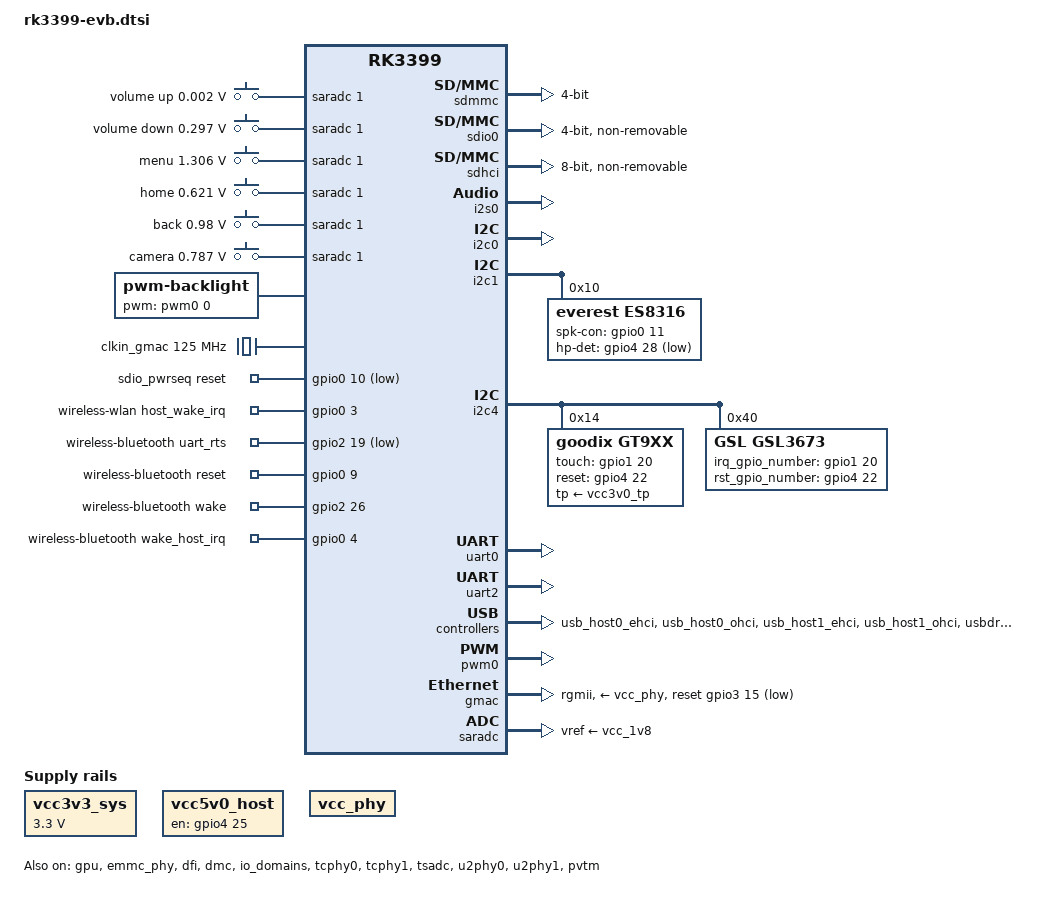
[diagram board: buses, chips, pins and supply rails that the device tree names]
/*
 * Copyright (c) 2016 Fuzhou Rockchip Electronics Co., Ltd
 *
 * This file is dual-licensed: you can use it either under the terms
 * of the GPL or the X11 license, at your option. Note that this dual
 * licensing only applies to this file, and not this project as a
 * whole.
 *
 *  a) This file is free software; you can redistribute it and/or
 *     modify it under the terms of the GNU General Public License as
 *     published by the Free Software Foundation; either version 2 of the
 *     License, or (at your option) any later version.
 *
 *     This file is distributed in the hope that it will be useful,
 *     but WITHOUT ANY WARRANTY; without even the implied warranty of
 *     MERCHANTABILITY or FITNESS FOR A PARTICULAR PURPOSE.  See the
 *     GNU General Public License for more details.
 *
 * Or, alternatively,
 *
 *  b) Permission is hereby granted, free of charge, to any person
 *     obtaining a copy of this software and associated documentation
 *     files (the "Software"), to deal in the Software without
 *     restriction, including without limitation the rights to use,
 *     copy, modify, merge, publish, distribute, sublicense, and/or
 *     sell copies of the Software, and to permit persons to whom the
 *     Software is furnished to do so, subject to the following
 *     conditions:
 *
 *     The above copyright notice and this permission notice shall be
 *     included in all copies or substantial portions of the Software.
 *
 *     THE SOFTWARE IS PROVIDED "AS IS", WITHOUT WARRANTY OF ANY KIND,
 *     EXPRESS OR IMPLIED, INCLUDING BUT NOT LIMITED TO THE WARRANTIES
 *     OF MERCHANTABILITY, FITNESS FOR A PARTICULAR PURPOSE AND
 *     NONINFRINGEMENT. IN NO EVENT SHALL THE AUTHORS OR COPYRIGHT
 *     HOLDERS BE LIABLE FOR ANY CLAIM, DAMAGES OR OTHER LIABILITY,
 *     WHETHER IN AN ACTION OF CONTRACT, TORT OR OTHERWISE, ARISING
 *     FROM, OUT OF OR IN CONNECTION WITH THE SOFTWARE OR THE USE OR
 *     OTHER DEALINGS IN THE SOFTWARE.
 */

#include <dt-bindings/input/input.h>
#include <dt-bindings/pwm/pwm.h>
#include "rk3399.dtsi"
#include "rk3399-opp.dtsi"

/ {
	compatible = "rockchip,rk3399-evb", "rockchip,rk3399";

	adc_keys: adc-keys {
		compatible = "adc-keys";
		io-channels = <&saradc 1>;
		io-channel-names = "buttons";
		keyup-threshold-microvolt = <1800000>;
		poll-interval = <100>;

		vol-up-key {
			label = "volume up";
			linux,code = <KEY_VOLUMEUP>;
			press-threshold-microvolt = <1750>;
		};

		vol-down-key {
			label = "volume down";
			linux,code = <KEY_VOLUMEDOWN>;
			press-threshold-microvolt = <297500>;
		};

		menu-key {
			label = "menu";
			linux,code = <KEY_MENU>;
			press-threshold-microvolt = <1305500>;
		};

		home-key {
			label = "home";
			linux,code = <KEY_HOME>;
			press-threshold-microvolt = <621250>;
		};

		back-key {
			label = "back";
			linux,code = <KEY_BACK>;
			press-threshold-microvolt = <980000>;
		};

		camera-key {
			label = "camera";
			linux,code = <KEY_CAMERA>;
			press-threshold-microvolt = <787500>;
		};
	};

	vcc3v3_sys: vcc3v3-sys {
		compatible = "regulator-fixed";
		regulator-name = "vcc3v3_sys";
		regulator-always-on;
		regulator-boot-on;
		regulator-min-microvolt = <3300000>;
		regulator-max-microvolt = <3300000>;
	};

	vcc5v0_host: vcc5v0-host-regulator {
		compatible = "regulator-fixed";
		enable-active-high;
		gpio = <&gpio4 25 GPIO_ACTIVE_HIGH>;
		pinctrl-names = "default";
		pinctrl-0 = <&host_vbus_drv>;
		regulator-name = "vcc5v0_host";
		regulator-always-on;
	};

	backlight: backlight {
		compatible = "pwm-backlight";
		pwms = <&pwm0 0 25000 0>;
		brightness-levels = <
			  0   1   2   3   4   5   6   7
			  8   9  10  11  12  13  14  15
			 16  17  18  19  20  21  22  23
			 24  25  26  27  28  29  30  31
			 32  33  34  35  36  37  38  39
			 40  41  42  43  44  45  46  47
			 48  49  50  51  52  53  54  55
			 56  57  58  59  60  61  62  63
			 64  65  66  67  68  69  70  71
			 72  73  74  75  76  77  78  79
			 80  81  82  83  84  85  86  87
			 88  89  90  91  92  93  94  95
			 96  97  98  99 100 101 102 103
			104 105 106 107 108 109 110 111
			112 113 114 115 116 117 118 119
			120 121 122 123 124 125 126 127
			128 129 130 131 132 133 134 135
			136 137 138 139 140 141 142 143
			144 145 146 147 148 149 150 151
			152 153 154 155 156 157 158 159
			160 161 162 163 164 165 166 167
			168 169 170 171 172 173 174 175
			176 177 178 179 180 181 182 183
			184 185 186 187 188 189 190 191
			192 193 194 195 196 197 198 199
			200 201 202 203 204 205 206 207
			208 209 210 211 212 213 214 215
			216 217 218 219 220 221 222 223
			224 225 226 227 228 229 230 231
			232 233 234 235 236 237 238 239
			240 241 242 243 244 245 246 247
			248 249 250 251 252 253 254 255>;
		default-brightness-level = <200>;
	};

	clkin_gmac: external-gmac-clock {
		compatible = "fixed-clock";
		clock-frequency = <125000000>;
		clock-output-names = "clkin_gmac";
		#clock-cells = <0>;
	};

	vcc_phy: vcc-phy-regulator {
		compatible = "regulator-fixed";
		regulator-name = "vcc_phy";
		regulator-always-on;
		regulator-boot-on;
	};

	es8316-sound {
		compatible = "simple-audio-card";
		simple-audio-card,format = "i2s";
		simple-audio-card,name = "rockchip,es8316-codec";
		simple-audio-card,mclk-fs = <256>;
		simple-audio-card,widgets =
			"Microphone", "Mic Jack",
			"Headphone", "Headphone Jack";
		simple-audio-card,routing =
			"Mic Jack", "MICBIAS1",
			"IN1P", "Mic Jack",
			"Headphone Jack", "HPOL",
			"Headphone Jack", "HPOR";
		simple-audio-card,cpu {
			sound-dai = <&i2s0>;
		};
		simple-audio-card,codec {
			sound-dai = <&es8316>;
		};
	};

	hdmi_sound: hdmi-sound {
		status = "disabled";
		compatible = "simple-audio-card";
		simple-audio-card,format = "i2s";
		simple-audio-card,mclk-fs = <256>;
		simple-audio-card,name = "rockchip,hdmi";
		simple-audio-card,cpu {
			sound-dai = <&i2s2>;
		};
		simple-audio-card,codec {
			sound-dai = <&dw_hdmi_audio>;
		};
	};

	dw_hdmi_audio: dw-hdmi-audio {
		status = "disabled";
		compatible = "rockchip,dw-hdmi-audio";
		#sound-dai-cells = <0>;
	};

	spdif_sound: spdif-sound {
		status = "disabled";
		compatible = "simple-audio-card";
		simple-audio-card,name = "ROCKCHIP,SPDIF";
		simple-audio-card,cpu {
			sound-dai = <&spdif>;
		};
		simple-audio-card,codec {
			sound-dai = <&spdif_out>;
		};
	};

	spdif_out: spdif-out {
		status = "disabled";
		compatible = "linux,spdif-dit";
		#sound-dai-cells = <0>;
	};

	sdio_pwrseq: sdio-pwrseq {
		compatible = "mmc-pwrseq-simple";
		clocks = <&rk808 1>;
		clock-names = "ext_clock";
		pinctrl-names = "default";
		pinctrl-0 = <&wifi_enable_h>;

		/*
		 * On the module itself this is one of these (depending
		 * on the actual card populated):
		 * - SDIO_RESET_L_WL_REG_ON
		 * - PDN (power down when low)
		 */
		reset-gpios = <&gpio0 10 GPIO_ACTIVE_LOW>; /* GPIO0_B2 */
	};

	wireless-wlan {
		compatible = "wlan-platdata";
		rockchip,grf = <&grf>;
		wifi_chip_type = "ap6354";
		sdio_vref = <1800>;
		WIFI,host_wake_irq = <&gpio0 3 GPIO_ACTIVE_HIGH>; /* GPIO0_a3 */
		status = "okay";
	};

	wireless-bluetooth {
		compatible = "bluetooth-platdata";
		clocks = <&rk808 1>;
		clock-names = "ext_clock";
		//wifi-bt-power-toggle;
		uart_rts_gpios = <&gpio2 19 GPIO_ACTIVE_LOW>; /* GPIO2_C3 */
		pinctrl-names = "default", "rts_gpio";
		pinctrl-0 = <&uart0_rts>;
		pinctrl-1 = <&uart0_gpios>;
		//BT,power_gpio  = <&gpio3 19 GPIO_ACTIVE_HIGH>; /* GPIOx_xx */
		BT,reset_gpio    = <&gpio0 9 GPIO_ACTIVE_HIGH>; /* GPIO0_B1 */
		BT,wake_gpio     = <&gpio2 26 GPIO_ACTIVE_HIGH>; /* GPIO2_D2 */
		BT,wake_host_irq = <&gpio0 4 GPIO_ACTIVE_HIGH>; /* GPIO0_A4 */
		status = "okay";
	};

	test-power {
		status = "okay";
	};
};

&cpu_l0 {
	cpu-supply = <&vdd_cpu_l>;
};

&cpu_l1 {
	cpu-supply = <&vdd_cpu_l>;
};

&cpu_l2 {
	cpu-supply = <&vdd_cpu_l>;
};

&cpu_l3 {
	cpu-supply = <&vdd_cpu_l>;
};

&cpu_b0 {
	cpu-supply = <&vdd_cpu_b>;
};

&cpu_b1 {
	cpu-supply = <&vdd_cpu_b>;
};

&gpu {
	status = "okay";
	mali-supply = <&vdd_gpu>;
};

&sdmmc {
	clock-frequency = <150000000>;
	clock-freq-min-max = <400000 150000000>;
	supports-sd;
	bus-width = <4>;
	cap-mmc-highspeed;
	cap-sd-highspeed;
	disable-wp;
	num-slots = <1>;
	//sd-uhs-sdr104;
	vqmmc-supply = <&vcc_sd>;
	pinctrl-names = "default";
	pinctrl-0 = <&sdmmc_clk &sdmmc_cmd &sdmmc_cd &sdmmc_bus4>;
	status = "okay";
};

&sdio0 {
	clock-frequency = <150000000>;
	clock-freq-min-max = <200000 150000000>;
	supports-sdio;
	bus-width = <4>;
	disable-wp;
	cap-sd-highspeed;
	cap-sdio-irq;
	keep-power-in-suspend;
	mmc-pwrseq = <&sdio_pwrseq>;
	non-removable;
	num-slots = <1>;
	pinctrl-names = "default";
	pinctrl-0 = <&sdio0_bus4 &sdio0_cmd &sdio0_clk>;
	sd-uhs-sdr104;
	status = "okay";
};

&emmc_phy {
	status = "okay";
};

&dfi {
	status = "okay";
};

&dmc {
	status = "okay";
	center-supply = <&vdd_center>;
	upthreshold = <40>;
	downdifferential = <20>;
	system-status-freq = <
		/*system status         freq(KHz)*/
		SYS_STATUS_NORMAL       800000
		SYS_STATUS_REBOOT       528000
		SYS_STATUS_SUSPEND      200000
		SYS_STATUS_VIDEO_1080P  200000
		SYS_STATUS_VIDEO_4K     600000
		SYS_STATUS_VIDEO_4K_10B 800000
		SYS_STATUS_PERFORMANCE  800000
		SYS_STATUS_BOOST        400000
		SYS_STATUS_DUALVIEW     600000
		SYS_STATUS_ISP          600000
	>;
	vop-bw-dmc-freq = <
	/* min_bw(MB/s) max_bw(MB/s) freq(KHz) */
		0       577      200000
		578     1701     300000
		1702    99999    400000
	>;
	auto-min-freq = <200000>;
};

&sdhci {
	bus-width = <8>;
	mmc-hs400-1_8v;
	supports-emmc;
	non-removable;
	keep-power-in-suspend;
	mmc-hs400-enhanced-strobe;
	status = "okay";
};

&i2s0 {
	status = "okay";
	rockchip,i2s-broken-burst-len;
	rockchip,playback-channels = <8>;
	rockchip,capture-channels = <8>;
	#sound-dai-cells = <0>;
};

&i2s2 {
	#sound-dai-cells = <0>;
};

&spdif {
	#sound-dai-cells = <0>;
};

&i2c0 {
	status = "okay";
	i2c-scl-rising-time-ns = <450>;
	i2c-scl-falling-time-ns = <15>;
};

&i2c1 {
	status = "okay";
	i2c-scl-rising-time-ns = <300>;
	i2c-scl-falling-time-ns = <15>;

	es8316: es8316@10 {
		#sound-dai-cells = <0>;
		compatible = "everest,es8316";
		reg = <0x10>;
		clocks = <&cru SCLK_I2S_8CH_OUT>;
		clock-names = "mclk";
		pinctrl-names = "default";
		pinctrl-0 = <&i2s_8ch_mclk>;
		spk-con-gpio = <&gpio0 11 GPIO_ACTIVE_HIGH>;
		hp-det-gpio = <&gpio4 28 GPIO_ACTIVE_LOW>;
	};
};

&i2c4 {
	status = "okay";
	i2c-scl-rising-time-ns = <600>;
	i2c-scl-falling-time-ns = <20>;

	gt9xx: gt9xx@14 {
		compatible = "goodix,gt9xx";
		reg = <0x14>;
		touch-gpio = <&gpio1 20 IRQ_TYPE_LEVEL_LOW>;
		reset-gpio = <&gpio4 22 GPIO_ACTIVE_HIGH>;
		max-x = <1200>;
		max-y = <1900>;
		tp-size = <911>;
		tp-supply = <&vcc3v0_tp>;
	};

	gsl3673: gsl3673@40 {
		compatible = "GSL,GSL3673";
		reg = <0x40>;
		screen_max_x = <1536>;
		screen_max_y = <2048>;
		irq_gpio_number = <&gpio1 20 IRQ_TYPE_LEVEL_LOW>;
		rst_gpio_number = <&gpio4 22 GPIO_ACTIVE_HIGH>;
	};
};

&io_domains {
	status = "okay";

	bt656-supply = <&vcc1v8_dvp>;
	audio-supply = <&vcca1v8_codec>;
	sdmmc-supply = <&vcc_sd>;
	gpio1830-supply = <&vcc_3v0>;
};

&pcie_phy {
	status = "disabled";
};

&pcie0 {
	ep-gpios = <&gpio3 13 GPIO_ACTIVE_HIGH>;
	num-lanes = <4>;
	pinctrl-names = "default";
	pinctrl-0 = <&pcie_clkreqn_cpm>;
	status = "disabled";
};

&tcphy0 {
	extcon = <&fusb0>;
	status = "okay";
};

&tcphy1 {
	extcon = <&fusb1>;
	status = "okay";
};

&tsadc {
	rockchip,hw-tshut-mode = <1>; /* tshut mode 0:CRU 1:GPIO */
	rockchip,hw-tshut-polarity = <1>; /* tshut polarity 0:LOW 1:HIGH */
	status = "okay";
};

&u2phy0 {
	status = "okay";
	extcon = <&fusb0>;

	u2phy0_otg: otg-port {
		status = "okay";
	};

	u2phy0_host: host-port {
		phy-supply = <&vcc5v0_host>;
		status = "okay";
	};
};

&u2phy1 {
	status = "okay";
	extcon = <&fusb1>;

	u2phy1_otg: otg-port {
		status = "okay";
	};

	u2phy1_host: host-port {
		phy-supply = <&vcc5v0_host>;
		status = "okay";
	};
};

&uart0 {
	pinctrl-names = "default";
	pinctrl-0 = <&uart0_xfer &uart0_cts>;
	status = "okay";
};

&uart2 {
	status = "okay";
};

&usb_host0_ehci {
	status = "okay";
};

&usb_host0_ohci {
	status = "okay";
};

&usb_host1_ehci {
	status = "okay";
};

&usb_host1_ohci {
	status = "okay";
};

&usbdrd3_0 {
	status = "okay";
};

&usbdrd_dwc3_0 {
	status = "okay";
	extcon = <&fusb0>;
};

&usbdrd3_1 {
	status = "okay";
};

&usbdrd_dwc3_1 {
	status = "okay";
	extcon = <&fusb1>;
};

&pwm0 {
	status = "okay";
};

&gmac {
	phy-supply = <&vcc_phy>;
	phy-mode = "rgmii";
	clock_in_out = "input";
	snps,reset-gpio = <&gpio3 15 GPIO_ACTIVE_LOW>;
	snps,reset-active-low;
	snps,reset-delays-us = <0 10000 50000>;
	assigned-clocks = <&cru SCLK_RMII_SRC>;
	assigned-clock-parents = <&clkin_gmac>;
	pinctrl-names = "default";
	pinctrl-0 = <&rgmii_pins>;
	tx_delay = <0x28>;
	rx_delay = <0x11>;
	status = "okay";
};

&saradc {
	status = "okay";
	vref-supply = <&vcc_1v8>;
};

&pinctrl {
	sdio-pwrseq {
		wifi_enable_h: wifi-enable-h {
			rockchip,pins = <0 RK_PB2 RK_FUNC_GPIO &pcfg_pull_none>;
		};
	};

	wireless-bluetooth {
		uart0_gpios: uart0-gpios {
			rockchip,pins = <2 RK_PC3 RK_FUNC_GPIO &pcfg_pull_none>;
		};
	};

	pmic {
		pmic_int_l: pmic-int-l {
			rockchip,pins =
				<1 RK_PC5 RK_FUNC_GPIO &pcfg_pull_up>;
		};

		pmic_dvs2: pmic-dvs2 {
			rockchip,pins =
				<1 RK_PC2 RK_FUNC_GPIO &pcfg_pull_down>;
		};
		vsel1_gpio: vsel1-gpio {
			rockchip,pins =
				<1 RK_PC1 RK_FUNC_GPIO &pcfg_pull_down>;
		};
		vsel2_gpio: vsel2-gpio {
			rockchip,pins =
				<1 RK_PB6 RK_FUNC_GPIO &pcfg_pull_down>;
		};
	};

	usb2 {
		host_vbus_drv: host-vbus-drv {
			rockchip,pins =
				<4 RK_PD1 RK_FUNC_GPIO &pcfg_pull_none>;
		};
	};

	fusb30x {
		fusb0_int: fusb0-int {
			rockchip,pins = <1 RK_PA2 RK_FUNC_GPIO &pcfg_pull_up>;
		};

		fusb1_int: fusb1-int {
			rockchip,pins = <1 RK_PD0 RK_FUNC_GPIO &pcfg_pull_up>;
		};
	};
};

&pvtm {
	status = "okay";
};

&pmu_pvtm {
	status = "okay";
};

&pmu_io_domains {
	status = "okay";
	pmu1830-supply = <&vcc1v8_pmu>;
};

